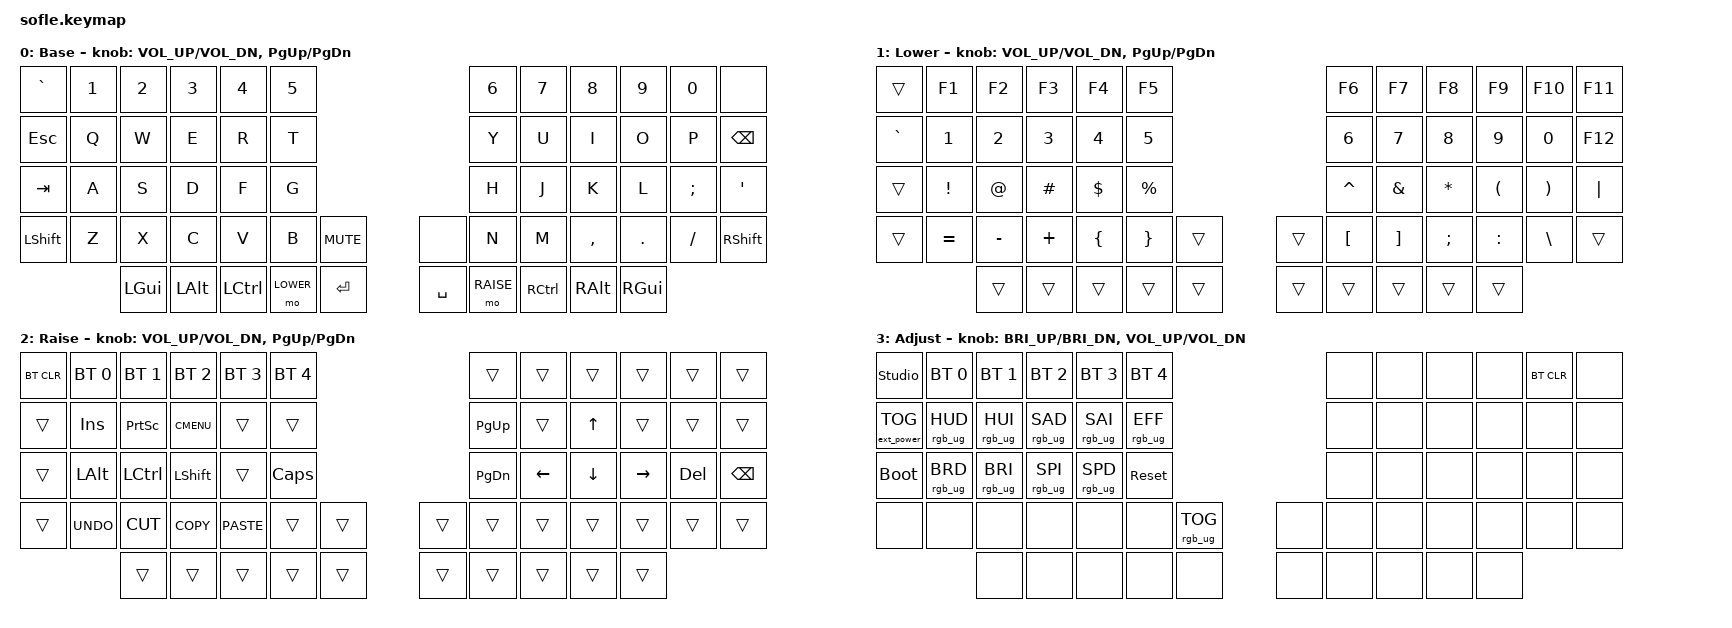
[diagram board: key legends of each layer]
/*
 * Sofle FT keymap
 *
 * 58 klawiszy (5+1 thumb na połówkę), oba enkodery, per-key RGB (30 LED/strona)
 * 4 warstwy: BASE, LOWER, RAISE, ADJUST (LOWER+RAISE)
 * Kompatybilne z OLED i nice!view (firmware buduje się oddzielnie dla obu)
 * Kompatybilne z ZMK Studio
 */

#include <behaviors.dtsi>
#include <dt-bindings/zmk/keys.h>
#include <dt-bindings/zmk/bt.h>
#include <dt-bindings/zmk/rgb.h>
#include <dt-bindings/zmk/ext_power.h>

#define BASE   0
#define LOWER  1
#define RAISE  2
#define ADJUST 3

/*
 * Override chain-length: shield Sofle ma domyślnie 36 (6 underglow + 30 per-key).
 * My nie używamy underglow - mamy tylko 30 per-key na każdą stronę.
 */
&led_strip {
    chain-length = <30>;
};

/*
 * Włącz oba enkodery - shield zostawia je w stanie "disabled" domyślnie.
 * Każda połówka aktywuje swój własny enkoder podczas runtime, więc oba
 * deklarujemy jako okay - ZMK sam wybierze ten odpowiedni dla danej strony.
 */
&left_encoder {
    status = "okay";
};

&right_encoder {
    status = "okay";
};

/ {
    // ADJUST aktywuje się gdy oba LOWER i RAISE są wciśnięte
    conditional_layers {
        compatible = "zmk,conditional-layers";
        adjust_layer {
            if-layers = <LOWER RAISE>;
            then-layer = <ADJUST>;
        };
    };

    keymap {
        compatible = "zmk,keymap";

        default_layer {
            display-name = "Base";
// ╭─────────┬─────┬─────┬──────┬──────┬──────╮                   ╭──────┬──────┬──────┬──────┬───────┬───────╮
// │   `     │  1  │  2  │  3   │  4   │  5   │                   │  6   │  7   │  8   │  9   │   0   │       │
// │  ESC    │  Q  │  W  │  E   │  R   │  T   │                   │  Y   │  U   │  I   │  O   │   P   │ BKSPC │
// │  TAB    │  A  │  S  │  D   │  F   │  G   │                   │  H   │  J   │  K   │  L   │   ;   │   '   │
// │  SHIFT  │  Z  │  X  │  C   │  V   │  B   │ MUTE  │  │        │  N   │  M   │  ,   │  .   │   /   │ SHIFT │
// ╰─────────┴─────┼─────┼──────┼──────┼──────┼───────┤  ├────────┼──────┼──────┼──────┼──────┼───────┴───────╯
//                 │ GUI │ ALT  │ CTRL │ LOWER│ ENTER │  │ SPACE  │ RAISE│ CTRL │ ALT  │ GUI  │
//                 ╰─────┴──────┴──────┴──────┴───────╯  ╰────────┴──────┴──────┴──────┴──────╯
            bindings = <
&kp GRAVE &kp N1 &kp N2   &kp N3   &kp N4    &kp N5                                       &kp N6    &kp N7    &kp N8    &kp N9   &kp N0   &none
&kp ESC   &kp Q  &kp W    &kp E    &kp R     &kp T                                        &kp Y     &kp U     &kp I     &kp O    &kp P    &kp BSPC
&kp TAB   &kp A  &kp S    &kp D    &kp F     &kp G                                        &kp H     &kp J     &kp K     &kp L    &kp SEMI &kp SQT
&kp LSHFT &kp Z  &kp X    &kp C    &kp V     &kp B      &kp C_MUTE          &none         &kp N     &kp M     &kp COMMA &kp DOT  &kp FSLH &kp RSHFT
                 &kp LGUI &kp LALT &kp LCTRL &mo LOWER  &kp RET             &kp SPACE     &mo RAISE &kp RCTRL &kp RALT  &kp RGUI
            >;

            // Lewy enkoder: VOL UP/DOWN; prawy: PG UP/DOWN
            sensor-bindings = <&inc_dec_kp C_VOL_UP C_VOL_DN &inc_dec_kp PG_UP PG_DN>;
        };

        lower_layer {
            display-name = "Lower";
            bindings = <
&trans    &kp F1    &kp F2    &kp F3   &kp F4   &kp F5                                       &kp F6    &kp F7   &kp F8    &kp F9    &kp F10   &kp F11
&kp GRAVE &kp N1    &kp N2    &kp N3   &kp N4   &kp N5                                       &kp N6    &kp N7   &kp N8    &kp N9    &kp N0    &kp F12
&trans    &kp EXCL  &kp AT    &kp HASH &kp DLLR &kp PRCNT                                    &kp CARET &kp AMPS &kp ASTRK &kp LPAR  &kp RPAR  &kp PIPE
&trans    &kp EQUAL &kp MINUS &kp PLUS &kp LBRC &kp RBRC    &trans              &trans       &kp LBKT  &kp RBKT &kp SEMI  &kp COLON &kp BSLH  &trans
                    &trans    &trans   &trans   &trans      &trans              &trans       &trans    &trans   &trans    &trans
            >;

            // Enkoder: skok strony (zachowanie z oryginału)
            sensor-bindings = <&inc_dec_kp C_VOL_UP C_VOL_DN &inc_dec_kp PG_UP PG_DN>;
        };

        raise_layer {
            display-name = "Raise";
            bindings = <
&bt BT_CLR &bt BT_SEL 0 &bt BT_SEL 1 &bt BT_SEL 2 &bt BT_SEL 3 &bt BT_SEL 4                                &trans    &trans   &trans    &trans    &trans  &trans
&trans     &kp INS      &kp PSCRN    &kp K_CMENU  &trans       &trans                                      &kp PG_UP &trans   &kp UP    &trans    &trans  &trans
&trans     &kp LALT     &kp LCTRL    &kp LSHFT    &trans       &kp CLCK                                    &kp PG_DN &kp LEFT &kp DOWN  &kp RIGHT &kp DEL &kp BSPC
&trans     &kp K_UNDO   &kp K_CUT    &kp K_COPY   &kp K_PASTE  &trans        &trans              &trans    &trans    &trans   &trans    &trans    &trans  &trans
                        &trans       &trans       &trans       &trans        &trans              &trans    &trans    &trans   &trans    &trans
            >;

            sensor-bindings = <&inc_dec_kp C_VOL_UP C_VOL_DN &inc_dec_kp PG_UP PG_DN>;
        };

        adjust_layer {
            display-name = "Adjust";
// ╭─────────┬─────────┬─────────┬─────────┬─────────┬─────────╮                   ╭──────┬──────┬──────┬──────┬───────┬───────╮
// │ STUDIO  │  BT1    │  BT2    │   BT3   │   BT4   │   BT5   │                   │      │      │      │      │ BTCLR │       │
// │ EXTPWR  │ RGB_HUD │ RGB_HUI │ RGB_SAD │ RGB_SAI │ RGB_EFF │                   │      │      │      │      │       │       │
// │ BOOTLDR │ RGB_BRD │ RGB_BRI │ RGB_SPI │ RGB_SPD │ SYS RST │                   │      │      │      │      │       │       │
// │         │         │         │         │         │         │ RGB_TOG │ │       │      │      │      │      │       │       │
//                     │         │         │         │         │         │ │       │      │      │      │      │
            bindings = <
&studio_unlock    &bt BT_SEL 0    &bt BT_SEL 1    &bt BT_SEL 2    &bt BT_SEL 3    &bt BT_SEL 4                                  &none &none &none &none &bt BT_CLR &none
&ext_power EP_TOG &rgb_ug RGB_HUD &rgb_ug RGB_HUI &rgb_ug RGB_SAD &rgb_ug RGB_SAI &rgb_ug RGB_EFF                               &none &none &none &none &none      &none
&bootloader       &rgb_ug RGB_BRD &rgb_ug RGB_BRI &rgb_ug RGB_SPI &rgb_ug RGB_SPD &sys_reset                                    &none &none &none &none &none      &none
&none             &none           &none           &none           &none           &none            &rgb_ug RGB_TOG    &none     &none &none &none &none &none      &none
                                  &none           &none           &none           &none            &none              &none     &none &none &none &none
            >;

            // Enkodery na ADJUST sterują RGB
            sensor-bindings = <&inc_dec_kp C_BRI_UP C_BRI_DN &inc_dec_kp C_VOL_UP C_VOL_DN>;
        };
    };
};
